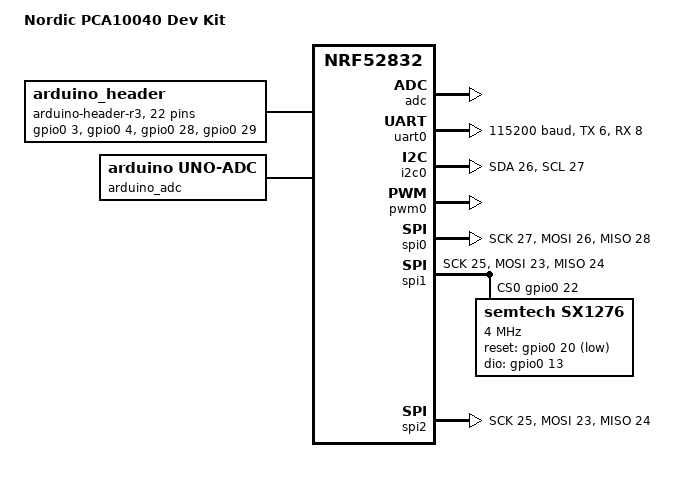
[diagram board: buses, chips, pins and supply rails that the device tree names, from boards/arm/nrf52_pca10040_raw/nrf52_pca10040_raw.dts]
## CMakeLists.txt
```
# SPDX-License-Identifier: Apache-2.0

cmake_minimum_required(VERSION 3.13.1)

set_property(GLOBAL APPEND PROPERTY HEX_FILES_TO_MERGE
      ${app_provision_hex})

set(BOARD nucleo_l476rg)

include($ENV{ZEPHYR_BASE}/cmake/app/boilerplate.cmake NO_POLICY_SCOPE)
project(lora_app)

include_directories(app PRIVATE inc)

FILE(GLOB app_sources src/*.c)
target_sources(app PRIVATE
  ${app_sources}
  )
```

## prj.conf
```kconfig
CONFIG_DEBUG=y
CONFIG_GPIO=y

CONFIG_HEAP_MEM_POOL_SIZE=6144
CONFIG_HEAP_MEM_POOL_MIN_SIZE=64

CONFIG_BUILD_OUTPUT_HEX=y

CONFIG_NEWLIB_LIBC=y
CONFIG_NEWLIB_LIBC_NANO=y

#------------------------------------------------

CONFIG_SPI=y
CONFIG_SPI_1=y
CONFIG_SPI_1_OP_MODES=1
CONFIG_SPI_STM32=y
CONFIG_SPI_ASYNC=y
CONFIG_SPI_STM32_INTERRUPT=y

#------------------------------------------------

CONFIG_COUNTER=y
CONFIG_COUNTER_LOG_LEVEL_INF=y

#------------------------------------------------

CONFIG_LORA=y
CONFIG_LORA_SX1276=y
CONFIG_LORA_LOG_LEVEL_INF=y
CONFIG_LORA_INIT_PRIORITY=90

#------------------------------------------------

CONFIG_USE_SEGGER_RTT=y
CONFIG_SEGGER_RTT_MAX_NUM_UP_BUFFERS=3
CONFIG_SEGGER_RTT_MAX_NUM_DOWN_BUFFERS=3
CONFIG_SEGGER_RTT_BUFFER_SIZE_UP=1024
CONFIG_SEGGER_RTT_BUFFER_SIZE_DOWN=16
CONFIG_SEGGER_RTT_PRINTF_BUFFER_SIZE=64
CONFIG_SEGGER_RTT_MODE_NO_BLOCK_SKIP=y

CONFIG_LOG=y
CONFIG_LOG_DEFAULT_LEVEL=3
CONFIG_LOG_OVERRIDE_LEVEL=0
CONFIG_LOG_MAX_LEVEL=4
CONFIG_LOG_FUNC_NAME_PREFIX_DBG=y
CONFIG_LOG_PRINTK=y
CONFIG_LOG_PRINTK_MAX_STRING_LENGTH=128
CONFIG_LOG_MODE_OVERFLOW=y
CONFIG_LOG_PROCESS_TRIGGER_THRESHOLD=10
CONFIG_LOG_PROCESS_THREAD=y
CONFIG_LOG_PROCESS_THREAD_SLEEP_MS=1000
CONFIG_LOG_PROCESS_THREAD_STACK_SIZE=768
CONFIG_LOG_BUFFER_SIZE=1024
CONFIG_LOG_DETECT_MISSED_STRDUP=y
CONFIG_LOG_STRDUP_MAX_STRING=32
CONFIG_LOG_STRDUP_BUF_COUNT=4
CONFIG_LOG_DOMAIN_ID=0
CONFIG_LOG_BACKEND_UART=y

CONFIG_LOG_BACKEND_RTT=y
CONFIG_LOG_BACKEND_RTT_MODE_BLOCK=y
CONFIG_LOG_BACKEND_RTT_OUTPUT_BUFFER_SIZE=64
CONFIG_LOG_BACKEND_RTT_RETRY_CNT=4
CONFIG_LOG_BACKEND_RTT_RETRY_DELAY_MS=5
CONFIG_LOG_BACKEND_RTT_BUFFER=0
CONFIG_LOG_BACKEND_SHOW_COLOR=y
CONFIG_LOG_BACKEND_FORMAT_TIMESTAMP=y

CONFIG_LOG_BACKEND_SHOW_COLOR=n
```

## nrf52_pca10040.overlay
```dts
/*
 * Copyright (c) 2019 Callender-Consulting, LLC
 *
 * SPDX-License-Identifier: Apache-2.0
 */

&spi1 {
    status = "okay";
    sck-pin = <25>;
    mosi-pin = <23>;
    miso-pin = <24>;
    cs-gpios = <&gpio0 22 0>;

    sx1276@0 {
        compatible = "semtech,sx1276";
        reg = <0>;
        spi-max-frequency = <1000000>;
        label = "SX1276";
        reset-gpios = <&gpio0 20 GPIO_ACTIVE_LOW>;
        dio-gpios   = <&gpio0 13 GPIO_ACTIVE_HIGH>;
    };
};
```

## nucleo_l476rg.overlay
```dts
/*
  * Copyright (c) 2019 Callender-Consulting, LLC
  *
  * SPDX-License-Identifier: Apache-2.0
  */


/*
 *  The Arduino-defined pins for SPI-CLK is D10 (PA5), but PA5 is tied to LED2 (LD2).
 *  The docs directory has workaround details --
 *      The pin D3 (PB3) is wired to the ICSP SPI-CLK pin on the LoRa shield.
 *      The SV2 jumper is set to the right position, (2-1), on the LoRa shield.
 *  See ./zephyr/drivers/boards/arm/nucleo_l476rg/pinmux.c for details.
 *
 *   The Dragino LoRa shield on a Nucleo-L476rg board must be provided with
 *   a SPI CLK frequency of between 20MHz and 5MHz. "Bus Busy" errors if
 *   SPI bus is operated at lower frequencies.
 */
&spi1 {

    status = "okay";
    cs-gpios = <&gpiob 6 0>;  // D10  SPI-CS
                              // D3   SPI-CLK
                              // D12  SPI-MISO
                              // D11  SPI-MOSI

    sx1276@0 {
        compatible = "semtech,sx1276";
        reg = <0>;
        spi-max-frequency = <5000000>;    
        label = "SX1276";
        reset-gpios = <&gpioc 7 GPIO_ACTIVE_LOW>;    // D9
        dio-gpios   = <&gpioa 10 GPIO_ACTIVE_HIGH>;  // D2
    };
};
```

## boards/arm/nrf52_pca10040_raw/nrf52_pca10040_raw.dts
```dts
/*
 * Copyright (c) 2017 Shawn Nock <shawn@monadnock.ca>
 * Copyright (c) 2017 Linaro Limited
 *
 * SPDX-License-Identifier: Apache-2.0
 */

/dts-v1/;
#include <nordic/nrf52832_qfaa.dtsi>

/ {
	model = "Nordic PCA10040 Dev Kit";
	compatible = "nordic,pca10040-dk", "nordic,nrf52832-qfaa",
		     "nordic,nrf52832";

	chosen {
		zephyr,console = &uart0;
		zephyr,shell-uart = &uart0;
		zephyr,uart-mcumgr = &uart0;
		zephyr,bt-mon-uart = &uart0;
		zephyr,bt-c2h-uart = &uart0;
		zephyr,sram = &sram0;
		zephyr,flash = &flash0;
		zephyr,code-partition = &slot0_partition;
	};


	arduino_header: connector {
		compatible = "arduino-header-r3";
		#gpio-cells = <2>;
		gpio-map-mask = <0xffffffff 0xffffffc0>;
		gpio-map-pass-thru = <0 0x3f>;
		gpio-map = <0 0 &gpio0 3 0>,	/* A0 */
			   <1 0 &gpio0 4 0>,	/* A1 */
			   <2 0 &gpio0 28 0>,	/* A2 */
			   <3 0 &gpio0 29 0>,	/* A3 */
			   <4 0 &gpio0 30 0>,	/* A4 */
			   <5 0 &gpio0 31 0>,	/* A5 */
			   <6 0 &gpio0 11 0>,	/* D0 */
			   <7 0 &gpio0 12 0>,	/* D1 */
			   <8 0 &gpio0 13 0>,	/* D2 */
			   <9 0 &gpio0 14 0>,	/* D3 */
			   <10 0 &gpio0 15 0>,	/* D4 */
			   <11 0 &gpio0 16 0>,	/* D5 */
			   <12 0 &gpio0 17 0>,	/* D6 */
			   <13 0 &gpio0 18 0>,	/* D7 */
			   <14 0 &gpio0 19 0>,	/* D8 */
			   <15 0 &gpio0 20 0>,	/* D9 */
			   <16 0 &gpio0 22 0>,	/* D10 */
			   <17 0 &gpio0 23 0>,	/* D11 */
			   <18 0 &gpio0 24 0>,	/* D12 */
			   <19 0 &gpio0 25 0>,	/* D13 */
			   <20 0 &gpio0 26 0>,	/* D14 */
			   <21 0 &gpio0 27 0>;	/* D15 */
	};

	arduino_adc: analog-connector {
		compatible = "arduino,uno-adc";
		#io-channel-cells = <1>;
		io-channel-map = <0 &adc 1>,	/* A0 = P0.3 = AIN1 */
				 <1 &adc 2>,	/* A1 = P0.4 = AIN2 */
				 <2 &adc 4>,	/* A2 = P0.28 = AIN4 */
				 <3 &adc 5>,	/* A3 = P0.29 = AIN5 */
				 <4 &adc 6>,	/* A4 = P0.30 = AIN6 */
				 <5 &adc 7>;	/* A5 = P0.31 = AIN7 */
	};
};

&adc {
	status = "okay";
};

&gpiote {
	status = "okay";
};

&gpio0 {
	status = "okay";
};

arduino_serial: &uart0 {
	status = "okay";
	compatible = "nordic,nrf-uart";
	current-speed = <115200>;
	tx-pin = <6>;
	rx-pin = <8>;
	rts-pin = <5>;
	cts-pin = <7>;
};

arduino_i2c: &i2c0 {
	compatible = "nordic,nrf-twi";
	status = "okay";
	sda-pin = <26>;
	scl-pin = <27>;
};

#if 0
&i2c1 {
	compatible = "nordic,nrf-twi";
	/* Cannot be used together with spi1. */
	/* status = "okay"; */
	sda-pin = <30>;
	scl-pin = <31>;
};
#endif

&pwm0 {
	status = "okay";
	ch0-pin = <17>;
	ch0-inverted;
};

&spi0 {
	compatible = "nordic,nrf-spi";
	/* Cannot be used together with i2c0. */
	/* status = "okay"; */
	sck-pin = <27>;
	mosi-pin = <26>;
	miso-pin = <28>;
};

&spi1 {
	compatible = "nordic,nrf-spi";
	status = "okay";
	sck-pin = <25>;
	mosi-pin = <23>;
	miso-pin = <24>;
	cs-gpios = <&gpio0 22 0>;

	sx1276@0 {
		compatible = "semtech,sx1276";
		reg = <0>;
		spi-max-frequency = <4000000>;
		label = "SX1276";
		reset-gpios = <&gpio0 20 GPIO_ACTIVE_LOW>;
		dio-gpios   = <&gpio0 13 GPIO_ACTIVE_HIGH>;
	};
};

arduino_spi: &spi2 {
	compatible = "nordic,nrf-spi";
	status = "okay";
	sck-pin = <25>;
	mosi-pin = <23>;
	miso-pin = <24>;
	cs-gpios = <&arduino_header 16 0>; /* D10 */
};

&flash0 {
	/*
	 * For more information, see:
	 * http://docs.zephyrproject.org/latest/guides/dts/index.html#flash-partitions
	 */
	partitions {
		compatible = "fixed-partitions";
		#address-cells = <1>;
		#size-cells = <1>;

		boot_partition: partition@0 {
			label = "mcuboot";
			reg = <0x00000000 0xc000>;
		};
		slot0_partition: partition@c000 {
			label = "image-0";
			reg = <0x0000C000 0x32000>;
		};
		slot1_partition: partition@3e000 {
			label = "image-1";
			reg = <0x0003E000 0x32000>;
		};
		scratch_partition: partition@70000 {
			label = "image-scratch";
			reg = <0x00070000 0xa000>;
		};
		storage_partition: partition@7a000 {
			label = "storage";
			reg = <0x0007a000 0x00006000>;
		};
	};
};
```

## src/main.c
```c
/* 
 *  main.c - Application main entry point 
 */
#include <zephyr.h>
#include <sys/printk.h>

#include <logging/log.h>
LOG_MODULE_REGISTER(main, 3);

#define STACKSIZE 1024
#define PRIORITY 7



/*---------------------------------------------------------------------------*/
/*                                                                           */
/*---------------------------------------------------------------------------*/
void main_thread(void * id, void * unused1, void * unused2)
{
    LOG_INF("%s", __func__);

    k_sleep( K_MSEC(500));

}

K_THREAD_DEFINE(main_id, STACKSIZE, main_thread, 
                NULL, NULL, NULL, PRIORITY, 0, K_NO_WAIT);
```

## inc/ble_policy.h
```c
/*
 *  ble_policy.h
 */
#ifndef __BLE_POLICY_H__
#define __BLE_POLICY_H__

/*---------------------------------------------------------------------------*/
/*                                                                           */
/*---------------------------------------------------------------------------*/

typedef enum {
    BLE_EVENT__INVALID = 0,
    BLE_EVENT__VOICE,
    BLE_EVENT__LAST
} ble_event_t;

typedef enum {
    BLE_CMD__BAD_CMD  = 0,
    BLE_CMD__BAD_ACT  = 1,
    BLE_CMD__STOP     = 0x10,
    BLE_CMD__UNLOAD   = 0x20,
    BLE_CMD__LOAD     = 0x30,
    BLE_CMD__LEFT     = 0x40,
    BLE_CMD__RIGHT    = 0x41,
    BLE_CMD__UP       = 0x42,
    BLE_CMD__DOWN     = 0x43,
    BLE_CMD__DISPENSE = 0x50,
} ble_cmd_t;

#define MAX_DEVICEID_STRING_LEN 16

extern int  DeviceIdLen;
extern char DeviceId [MAX_DEVICEID_STRING_LEN];

/*---------------------------------------------------------------------------*/
/*                                                                           */
/*---------------------------------------------------------------------------*/
int  ble_enqueue_msg(ble_event_t charact, u32_t data);
void ble_operation_complete(ble_event_t charact, u32_t code);
int  ble_policy_init(void);
void ble_device_name(void);

#endif  // __BLE_POLICY_H__
```

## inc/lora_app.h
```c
/*
 *  lora_app.h
 */
#ifndef __LORA_APP_H__
#define __LORA_APP_H__

#define ACTIVE_REGION LORA_MAC_REGION_US915

#define REGION_US915 1

int  lora_app_init(void);

#endif  // __LORA_APP_H__
```

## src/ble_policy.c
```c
/* 
 *  ble_policy.c
 */
#include <zephyr/types.h>
#include <stdio.h>
#include <stddef.h>
#include <string.h>
#include <errno.h>
#include <sys/printk.h>
#include <zephyr.h>

#include "ble_policy.h"
#include "ble_base.h"

#define LOG_LEVEL 3
#include <logging/log.h>
LOG_MODULE_REGISTER(ble_policy);

/*---------------------------------------------------------------------------*/
/*                                                                           */
/*---------------------------------------------------------------------------*/
typedef struct ble_msg {
    ble_event_t event;
    u32_t       data;
} ble_msg_t;

#define QUEUE_ELEMENTS       8
#define ALIGNMENT            4  // 32-bit alignment

K_MSGQ_DEFINE(ble_queue, sizeof(ble_msg_t), QUEUE_ELEMENTS, ALIGNMENT);

int  DeviceIdLen = 0;
char DeviceId [MAX_DEVICEID_STRING_LEN];

/*---------------------------------------------------------------------------*/
/*                                                                           */
/*---------------------------------------------------------------------------*/
#define STACKSIZE 1024

struct k_thread ble_queue_thread;
K_THREAD_STACK_DEFINE(ble_queue_stack, STACKSIZE);

static k_tid_t tBleQ;

static bool active = false;

static struct k_work disconnect_work;

/*---------------------------------------------------------------------------*/
/*                                                                           */
/*---------------------------------------------------------------------------*/
int ble_command(u32_t data)
{
    int status = 0;
    u8_t bytes[sizeof(u32_t)];
    
    memcpy(bytes, &data, sizeof(bytes));

    u32_t command = bytes[3];
    int params  = (((bytes[0] << 16) + (bytes[1] << 8) + bytes[2]) << 8) >> 8;

    switch (command) {

        case BLE_CMD__STOP:
            LOG_INF("%s: STOP", __func__);
            status = 0;
            break;

        case BLE_CMD__UNLOAD:
            LOG_INF("%s: UNLOAD", __func__);
            status = 0;
            break;

        case BLE_CMD__LOAD:
            LOG_INF("%s: LOAD", __func__);
            status = 0;
            break;

        case BLE_CMD__LEFT:
            LOG_INF("%s: LEFT %d", __func__, params);
            status = 0;
            break;

        case BLE_CMD__RIGHT:
            LOG_INF("%s: RIGHT %d", __func__, params);
            // TBD
            status = 0;
            break;

        case BLE_CMD__UP:
            LOG_INF("%s: UP %d", __func__, params);
            status = 0;
            break;

        case BLE_CMD__DOWN:
            LOG_INF("%s: DOWN %d", __func__, params);
            status = 0;
            break;

        case BLE_CMD__DISPENSE:
            LOG_INF("%s: DISPENSE", __func__);
            status = 0;
            break;

        default:
            LOG_INF("%s: <unknown> 0x%08x : command(%08X), params(%08X)", 
                    __func__, data, command, params);
            status = 0;
            break;
    }

    return status;
}

/*---------------------------------------------------------------------------*/
/*                                                                           */
/*---------------------------------------------------------------------------*/
static void disconnect_work_cb(struct k_work * work)
{
    ble_disconnect();
}

/*---------------------------------------------------------------------------*/
/*                                                                           */
/*---------------------------------------------------------------------------*/
void ble_policy_tasks(void)
{
    while (active) {

        k_sleep(MSEC_PER_SEC);

        if (ble_is_connected()) {
            /* Battery level (simulation) */
            bas_notify();
        }
    }
}

/*---------------------------------------------------------------------------*/
/*                                                                           */
/*---------------------------------------------------------------------------*/
int ble_enqueue_msg(ble_event_t event, u32_t data)
{
    ble_msg_t msg;

    msg.event = event;
    msg.data  = data;

    while (k_msgq_put(&ble_queue, &msg, K_NO_WAIT) != 0) {
        LOG_ERR("%s: k_msgq_put error: purging queue", __func__);
        k_msgq_purge(&ble_queue);
        return -EIO;
    }
    return 0;
}

/*---------------------------------------------------------------------------*/
/*                                                                           */
/*---------------------------------------------------------------------------*/
static void ble_queue_service(void)
{
    int status;
    ble_msg_t msg;
    
    LOG_INF("%s: started", __func__);

    while (1) {

        k_msgq_get(&ble_queue, &msg, K_FOREVER);

        switch (msg.event) {

            case BLE_EVENT__VOICE:
                status = ble_command(msg.data);
                ble_operation_complete(msg.event, status);
                break;

            default:
                ble_operation_complete(msg.event, -EIO);
                break;
        }
    }
}

/*---------------------------------------------------------------------------*/
/*                                                                           */
/*---------------------------------------------------------------------------*/
void ble_device_name(void)
{
    u32_t deviceid = NRF_FICR->DEVICEID[0];

    sprintf(DeviceId, "%s_%08x", CONFIG_BT_DEVICE_NAME, deviceid);

    DeviceIdLen = strlen(DeviceId);

    printk("DeviceId: %s\n", DeviceId);
}

/*---------------------------------------------------------------------------*/
/*                                                                           */
/*---------------------------------------------------------------------------*/
static int ble_queue_init(void)
{
    int status = 0;

    tBleQ = k_thread_create(&ble_queue_thread, 
                            ble_queue_stack, STACKSIZE,
                            (k_thread_entry_t)ble_queue_service, 
                            NULL, NULL, NULL, -1, K_USER, K_FOREVER);

    k_thread_start(&ble_queue_thread);

    return status;
}

/*---------------------------------------------------------------------------*/
/*                                                                           */
/*---------------------------------------------------------------------------*/
void ble_operation_complete(ble_event_t event, u32_t code)
{
    paste_notify(event, code);
}

/*---------------------------------------------------------------------------*/
/*                                                                           */
/*---------------------------------------------------------------------------*/
int ble_policy_init(void)
{
    int status;

    /*
     *  Create unique device identifier.
     */
    ble_device_name();

    /*
     *  Start base BLE 
     */
    status = ble_base_init();
    if (status < 0) {
        return status;
    }

    /*
     *  Start queue service on its own thread.
     */
    ble_queue_init();
    if (status < 0) {
        return status;
    }

    disconnect_work.handler = disconnect_work_cb;

    /*
     *  Indicate all is initialized.
     */
    active = true;

    /* 
     *  Start polling tasks: thread should never return. Keep last.
     */
    ble_policy_tasks();

    return -EINVAL;
}
```

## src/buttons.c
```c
/*
 *   buttons.c
 */
#include <zephyr.h>
#include <device.h>
#include <drivers/gpio.h>
#include <sys/util.h>
#include <sys/printk.h>
#include <inttypes.h>

#include "buttons.h"

#include <logging/log.h>
LOG_MODULE_REGISTER(buttons, 3);

/*---------------------------------------------------------------------------*/
/* NOTE: Pin P0.13 is used by the LoRa Shield, so defeat its use as button.  */
/*---------------------------------------------------------------------------*/

#define SW_GPIO_NAME    DT_GPIO_KEYS_SW0_GPIOS_CONTROLLER

//#define SW0_PIN         DT_ALIAS_SW0_GPIOS_PIN   // Pin P0.13 on PCA10040 BOARD
#define SW1_PIN         DT_ALIAS_SW1_GPIOS_PIN
#define SW2_PIN         DT_ALIAS_SW2_GPIOS_PIN
#define SW3_PIN         DT_ALIAS_SW3_GPIOS_PIN

/*---------------------------------------------------------------------------*/
/*                                                                           */
/*---------------------------------------------------------------------------*/

typedef struct {
    u8_t    id;
    u8_t    pin;
    u32_t   bit;
    char  * name;
} button_info_t; 

static const button_info_t button_info [] = {
//    { .id = BTN1_ID, .pin = SW0_PIN, .bit = BIT(SW0_PIN), .name = "BTN1" },
    { .id = BTN2_ID, .pin = SW1_PIN, .bit = BIT(SW1_PIN), .name = "BTN2" },
    { .id = BTN3_ID, .pin = SW2_PIN, .bit = BIT(SW2_PIN), .name = "BTN3" },
    { .id = BTN4_ID, .pin = SW3_PIN, .bit = BIT(SW3_PIN), .name = "BTN4" },
};
#define BUTTONS_COUNT (sizeof(button_info)/sizeof(button_info_t))

static const button_info_t unknown = {.id=INVALID_ID, .pin=0 , .bit= 0, .name= "???"};

/*---------------------------------------------------------------------------*/
/*                                                                           */
/*---------------------------------------------------------------------------*/
static struct device * gpiob;

//static struct gpio_callback buttons_cb;

typedef struct {
    struct k_work      work;
    button_info_t    * current;
    buttons_notify_t   notify;
} buttons_t;

static buttons_t  buttons;

/*---------------------------------------------------------------------------*/
/*                                                                           */
/*---------------------------------------------------------------------------*/
static const button_info_t * button_get_info(u32_t pins)
{
    for (int i=0; i < BUTTONS_COUNT; i++) {
        if (button_info[i].bit & pins) {
            return &button_info[i];
        }
    }
    return &unknown;
}

/*---------------------------------------------------------------------------*/
/*                                                                           */
/*---------------------------------------------------------------------------*/
void buttons_event(struct device * gpiob, struct gpio_callback * cb, u32_t pins)
{
    buttons.current = (button_info_t *) button_get_info(pins);
    if (buttons.current->id == INVALID_ID) {
        return;
    }

    //LOG_INF("%s pin(%d)", buttons.current->name, buttons.current->pin);

    k_work_submit(&buttons.work);
}

/*---------------------------------------------------------------------------*/
/*                                                                           */
/*---------------------------------------------------------------------------*/
static void buttons_worker(struct k_work * work)
{
    //LOG_INF("%s pin(%d)", buttons.current->name, buttons.current->pin);

    if (buttons.notify) {
        buttons.notify(buttons.current->id);
    }
}

/*---------------------------------------------------------------------------*/
/*                                                                           */
/*---------------------------------------------------------------------------*/
void buttons_register_notify_handler(buttons_notify_t notify)
{
    buttons.notify = notify;
}

/*---------------------------------------------------------------------------*/
/*                                                                           */
/*---------------------------------------------------------------------------*/
void buttons_unregister_notify_handler(void)
{
    buttons.notify = NULL;
}

/*---------------------------------------------------------------------------*/
/*                                                                           */
/*---------------------------------------------------------------------------*/
void buttons_init(void)
{
    gpiob = device_get_binding(SW_GPIO_NAME);
    if (!gpiob) {
        LOG_ERR("device not found. %s", SW_GPIO_NAME);
        return;
    }

    k_work_init(&buttons.work, buttons_worker);

#if 0
    gpio_pin_configure(gpiob, SW0_PIN, GPIO_INPUT | DT_ALIAS_SW0_GPIOS_FLAGS);
    gpio_pin_configure(gpiob, SW1_PIN, GPIO_INPUT | DT_ALIAS_SW1_GPIOS_FLAGS);
    gpio_pin_configure(gpiob, SW2_PIN, GPIO_INPUT | DT_ALIAS_SW2_GPIOS_FLAGS);
    gpio_pin_configure(gpiob, SW3_PIN, GPIO_INPUT | DT_ALIAS_SW3_GPIOS_FLAGS);

    gpio_pin_interrupt_configure(gpiob, SW0_PIN, GPIO_INT_EDGE_TO_ACTIVE);
    gpio_pin_interrupt_configure(gpiob, SW1_PIN, GPIO_INT_EDGE_TO_ACTIVE);
    gpio_pin_interrupt_configure(gpiob, SW2_PIN, GPIO_INT_EDGE_TO_ACTIVE);
    gpio_pin_interrupt_configure(gpiob, SW3_PIN, GPIO_INT_EDGE_TO_ACTIVE);

    gpio_init_callback(&buttons_cb, buttons_event,
                       BIT(SW0_PIN) | BIT(SW1_PIN) | BIT(SW2_PIN) | BIT(SW3_PIN));

    gpio_add_callback(gpiob, &buttons_cb);
#endif

}
```
